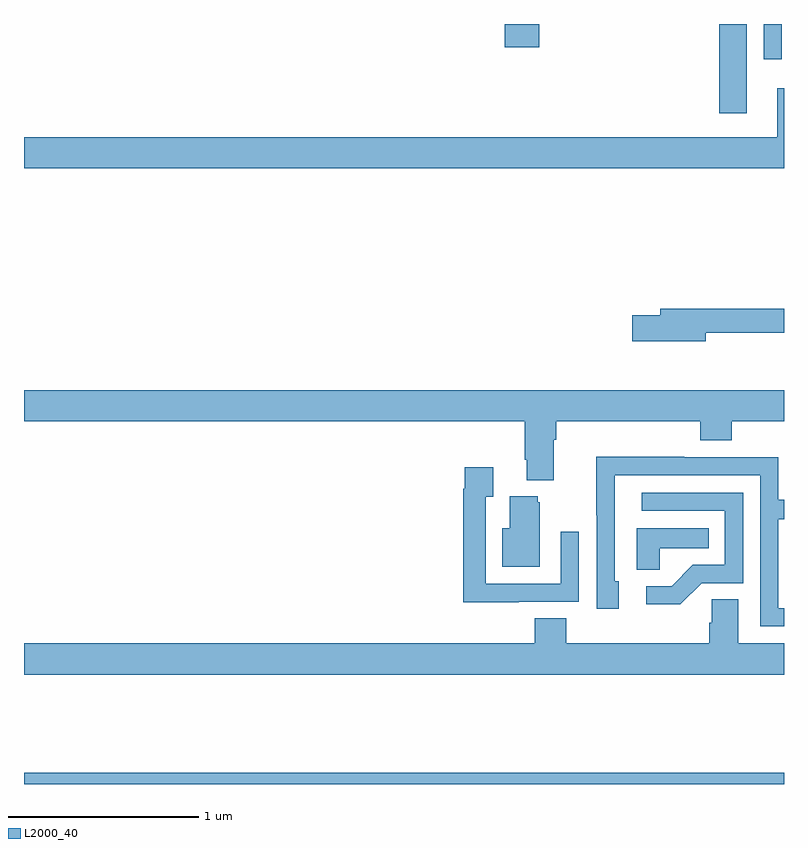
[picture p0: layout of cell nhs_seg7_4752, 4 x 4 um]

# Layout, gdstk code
import gdstk
lib = gdstk.Library(unit=1e-6, precision=1e-09)
def R(c, l, rs):  # rectangles x0, y0, x1, y1
    for r in rs: c.add(gdstk.rectangle(r[:2], r[2:], *l))
def P(c, l, *ps):  # polygons
    for p in ps: c.add(gdstk.Polygon(p, *l))
L2000_40 = (2000, 40)

nhs_seg7_4752 = lib.new_cell('nhs_seg7_4752')
R(nhs_seg7_4752, L2000_40, [(409,1040,413,1040.06), (412.658,1043.529,412.804,1044), (412.893,1043.814,412.989,1044), (411.53,1043.877,411.713,1044)])
P(nhs_seg7_4752, L2000_40, [(413,1043.662),(412.964,1043.662),(412.964,1043.404),(409,1043.404),(409,1043.24),(413,1043.24)],
  [(412.588,1042.374),(413,1042.374),(413,1042.502),(412.349,1042.502),(412.349,1042.466),(412.2,1042.466),(412.2,1042.331),(412.588,1042.331)],
  [(411.787,1041.812),(411.8,1041.812),(411.8,1041.908),(412.559,1041.908),(412.559,1041.809),(412.724,1041.809),(412.724,1041.908),(413,1041.908),(413,1042.072),(409,1042.072),(409,1041.908),(411.635,1041.908),(411.635,1041.706),(411.647,1041.706),(411.647,1041.599),(411.787,1041.599)],
  [(413,1040.925),(412.971,1040.925),(412.971,1041.394),(413,1041.394),(413,1041.495),(412.971,1041.495),(412.971,1041.72),(412.475,1041.72),(412.475,1041.722),(412.012,1041.722),(412.012,1041.415),(412.014,1041.415),(412.014,1040.922),(412.129,1040.922),(412.129,1041.066),(412.11,1041.066),(412.11,1041.624),(412.875,1041.624),(412.875,1040.829),(413,1040.829)],
  [(411.605,1040.958),(411.921,1040.958),(411.921,1041.328),(411.825,1041.328),(411.825,1041.054),(411.429,1041.054),(411.429,1041.511),(411.469,1041.511),(411.469,1041.667),(411.321,1041.667),(411.321,1041.554),(411.313,1041.554),(411.313,1040.957),(411.605,1040.957)],
  [(412.566,1041.057),(412.785,1041.057),(412.785,1041.534),(412.251,1041.534),(412.251,1041.438),(412.689,1041.438),(412.689,1041.153),(412.52,1041.153),(412.409,1041.042),(412.275,1041.042),(412.275,1040.945),(412.453,1040.945)],
  [(411.715,1041.483),(411.704,1041.483),(411.704,1041.514),(411.557,1041.514),(411.557,1041.346),(411.518,1041.346),(411.518,1041.143),(411.715,1041.143)],
  [(412.347,1041.242),(412.604,1041.242),(412.604,1041.346),(412.226,1041.346),(412.226,1041.127),(412.347,1041.127)],
  [(413,1040.74),(412.759,1040.74),(412.759,1040.972),(412.62,1040.972),(412.62,1040.849),(412.607,1040.849),(412.607,1040.74),(411.854,1040.74),(411.854,1040.873),(411.689,1040.873),(411.689,1040.74),(409,1040.74),(409,1040.576),(413,1040.576)])

lib.write_gds('nhs_seg7_4752.gds')
